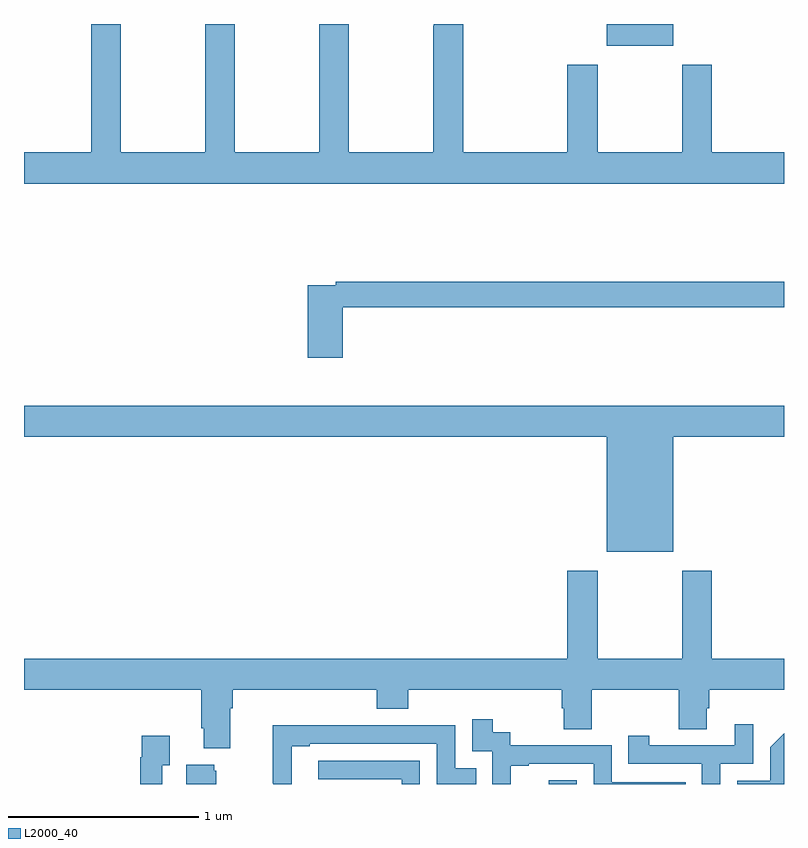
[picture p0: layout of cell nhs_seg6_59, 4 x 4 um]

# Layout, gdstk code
import gdstk
lib = gdstk.Library(unit=1e-6, precision=1e-09)
def R(c, l, rs):  # rectangles x0, y0, x1, y1
    for r in rs: c.add(gdstk.rectangle(r[:2], r[2:], *l))
def P(c, l, *ps):  # polygons
    for p in ps: c.add(gdstk.Polygon(p, *l))
L2000_40 = (2000, 40)

nhs_seg6_59 = lib.new_cell('nhs_seg6_59')
R(nhs_seg6_59, L2000_40, [(115.761,953.5,115.908,953.521), (116.066,957.386,116.416,957.5)])
P(nhs_seg6_59, L2000_40, [(117,956.824),(116.619,956.824),(116.619,957.286),(116.464,957.286),(116.464,956.824),(116.019,956.824),(116.019,957.286),(115.859,957.286),(115.859,956.824),(115.313,956.824),(115.313,957.5),(115.157,957.5),(115.157,957.491),(115.153,957.491),(115.153,956.824),(114.708,956.824),(114.708,957.5),(114.553,957.5),(114.553,956.824),(114.108,956.824),(114.108,957.5),(113.953,957.5),(113.953,956.824),(113.508,956.824),(113.508,957.5),(113.353,957.5),(113.353,956.824),(113,956.824),(113,956.66),(117,956.66)],
  [(114.677,956.008),(117,956.008),(117,956.144),(114.64,956.144),(114.64,956.124),(114.494,956.124),(114.494,955.743),(114.677,955.743)],
  [(116.416,955.328),(117,955.328),(117,955.492),(113,955.492),(113,955.328),(116.066,955.328),(116.066,954.722),(116.416,954.722)],
  [(114.085,953.9),(114.098,953.9),(114.098,953.996),(114.857,953.996),(114.857,953.897),(115.022,953.897),(115.022,953.996),(115.829,953.996),(115.829,953.898),(115.841,953.898),(115.841,953.788),(115.989,953.788),(115.989,953.996),(116.446,953.996),(116.446,953.788),(116.593,953.788),(116.593,953.898),(116.606,953.898),(116.606,953.996),(117,953.996),(117,954.16),(116.619,954.16),(116.619,954.622),(116.464,954.622),(116.464,954.16),(116.019,954.16),(116.019,954.622),(115.859,954.622),(115.859,954.16),(113,954.16),(113,953.996),(113.933,953.996),(113.933,953.794),(113.945,953.794),(113.945,953.687),(114.085,953.687)],
  [(115.562,953.595),(115.657,953.595),(115.657,953.607),(115.998,953.607),(115.998,953.5),(116.483,953.5),(116.483,953.508),(116.094,953.508),(116.094,953.703),(115.56,953.703),(115.56,953.772),(115.468,953.772),(115.468,953.842),(115.359,953.842),(115.359,953.673),(115.464,953.673),(115.464,953.5),(115.562,953.5)],
  [(116.664,953.607),(116.838,953.607),(116.838,953.815),(116.741,953.815),(116.741,953.703),(116.29,953.703),(116.29,953.755),(116.179,953.755),(116.179,953.607),(116.568,953.607),(116.568,953.5),(116.664,953.5)],
  [(114.408,953.7),(114.505,953.7),(114.505,953.712),(115.173,953.712),(115.173,953.5),(115.379,953.5),(115.379,953.583),(115.269,953.583),(115.269,953.808),(114.773,953.808),(114.773,953.81),(114.31,953.81),(114.31,953.503),(114.312,953.503),(114.312,953.5),(114.408,953.5)],
  [(117,953.766),(116.928,953.694),(116.928,953.517),(116.754,953.517),(116.754,953.5),(117,953.5)],
  [(113.727,953.599),(113.767,953.599),(113.767,953.755),(113.619,953.755),(113.619,953.642),(113.611,953.642),(113.611,953.5),(113.727,953.5)],
  [(115.083,953.622),(114.549,953.622),(114.549,953.526),(114.987,953.526),(114.987,953.5),(115.083,953.5)],
  [(114.013,953.571),(114.002,953.571),(114.002,953.602),(113.855,953.602),(113.855,953.5),(114.013,953.5)])

lib.write_gds('nhs_seg6_59.gds')
